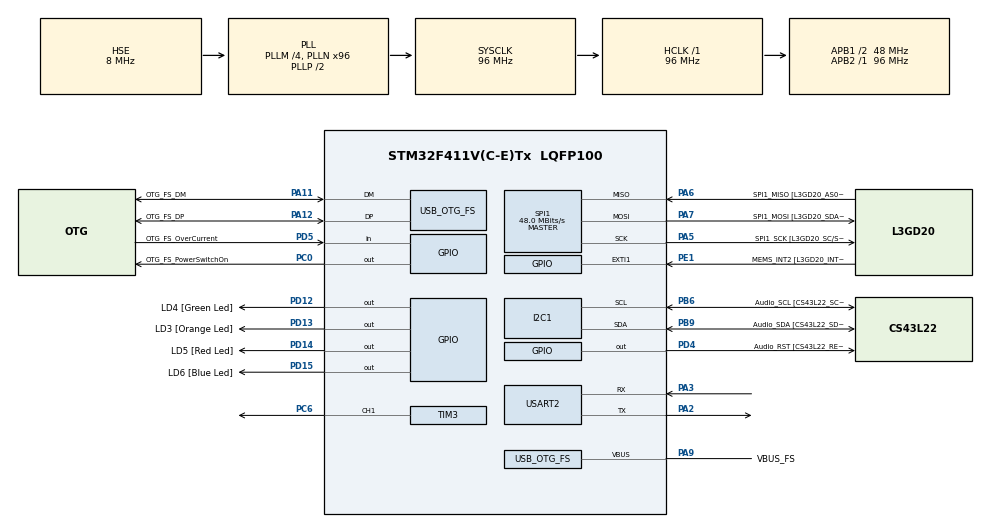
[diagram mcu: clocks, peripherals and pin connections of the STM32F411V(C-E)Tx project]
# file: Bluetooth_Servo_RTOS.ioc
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FREERTOS.CountingSemaphores01=Red_LED,15,Static,Red_LEDControl;Blue_LED,15,Dynamic,NULL;Orange_LED,15,Dynamic,NULL;Green_LED,15,Dynamic,NULL
FREERTOS.Queues01=Servo_Angle,50,uint8_t,0,Dynamic,NULL,NULL;From_COM_Port,100,uint8_t,0,Dynamic,NULL,NULL;To_COM_Port,100,uint8_t,0,Dynamic,NULL,NULL;From_Bluetooth,100,uint8_t,0,Dynamic,NULL,NULL;To_Bluetooth,100,uint8_t,0,Dynamic,NULL,NULL
FREERTOS.Tasks01=Move_Servo_Task,0,128,Move_Servo,Default,NULL,Dynamic,NULL,NULL;Bluetooth_Read,-2,128,Bluetooth_Read_Task,Default,NULL,Dynamic,NULL,NULL;USB_Read,-2,128,USB_Read_Task,Default,NULL,Dynamic,NULL,NULL;USB_Send,-2,128,USB_Send_Task,Default,NULL,Dynamic,NULL,NULL;Bluetooth_Send,-2,128,Bluetooth_Send_Task,Default,NULL,Dynamic,NULL,NULL;LED_Control,-2,128,LED_Control_Task,Default,NULL,Dynamic,NULL,NULL;Button_read,-2,128,Button_read_Task,Default,NULL,Dynamic,NULL,NULL
FREERTOS.configUSE_NEWLIB_REENTRANT=1
Mcu.Family=STM32F4
Mcu.Name=STM32F411V(C-E)Tx
Mcu.Package=LQFP100
NVIC.OTG_FS_IRQn=true\:5\:0\:false\:false\:true\:true\:true\:true\:true
NVIC.PriorityGroup=NVIC_PRIORITYGROUP_4
NVIC.TIM1_UP_TIM10_IRQn=true\:5\:0\:false\:false\:true\:false\:false\:true\:true
NVIC.TimeBase=TIM1_UP_TIM10_IRQn
NVIC.TimeBaseIP=TIM1
PA0-WKUP.Mode=SYS_WakeUp0
PA0-WKUP.Signal=SYS_WKUP
PA10.GPIO_Label=OTG_FS_ID
PA10.Signal=USB_OTG_FS_ID
PA11.GPIO_Label=OTG_FS_DM
PA11.Mode=Device_Only
PA11.Signal=USB_OTG_FS_DM
PA12.GPIO_Label=OTG_FS_DP
PA12.Mode=Device_Only
PA12.Signal=USB_OTG_FS_DP
PA13.GPIO_Label=SWDIO
PA13.Mode=Serial_Wire
PA13.Signal=SYS_JTMS-SWDIO
PA14.GPIO_Label=SWCLK
PA14.Mode=Serial_Wire
PA14.Signal=SYS_JTCK-SWCLK
PA2.Mode=Asynchronous
PA2.Signal=USART2_TX
PA3.Mode=Asynchronous
PA3.Signal=USART2_RX
PA4.GPIO_Label=I2S3_WS [CS43L22_LRCK]
PA4.GPIO_Mode=GPIO_MODE_AF_PP
PA4.GPIO_PuPd=GPIO_NOPULL
PA4.GPIO_Speed=GPIO_SPEED_FREQ_LOW
PA4.Signal=I2S3_WS
PA5.GPIO_Label=SPI1_SCK [L3GD20_SC/SPC]
PA5.Mode=Full_Duplex_Master
PA5.Signal=SPI1_SCK
PA6.GPIO_Label=SPI1_MISO [L3GD20_AS0/SDO]
PA6.Mode=Full_Duplex_Master
PA6.Signal=SPI1_MISO
PA7.GPIO_Label=SPI1_MOSI [L3GD20_SDA/SDI/SDO]
PA7.Mode=Full_Duplex_Master
PA7.Signal=SPI1_MOSI
PA9.GPIO_Label=VBUS_FS
PA9.Mode=Activate_VBUS
PA9.Signal=USB_OTG_FS_VBUS
PB10.GPIO_Label=CLK_IN [MP45DT02_CLK]
PB10.Signal=I2S2_CK
PB12.Signal=I2S2_WS
PB3.GPIO_Label=SWO
PB3.Signal=SYS_JTDO-SWO
PB6.GPIO_Label=Audio_SCL [CS43L22_SCL]
PB6.GPIO_Mode=GPIO_MODE_AF_OD
PB6.GPIO_Pu=GPIO_PULLUP
PB6.GPIO_PuPd=GPIO_NOPULL
PB6.GPIO_Speed=GPIO_SPEED_FREQ_LOW
PB6.Mode=I2C
PB6.Signal=I2C1_SCL
PB9.GPIO_Label=Audio_SDA [CS43L22_SDA]
PB9.GPIO_Mode=GPIO_MODE_AF_OD
PB9.GPIO_Pu=GPIO_PULLUP
PB9.GPIO_PuPd=GPIO_NOPULL
PB9.GPIO_Speed=GPIO_SPEED_FREQ_LOW
PB9.Mode=I2C
PB9.Signal=I2C1_SDA
PC0.GPIO_Label=OTG_FS_PowerSwitchOn
PC0.PinState=GPIO_PIN_SET
PC0.Signal=GPIO_Output
PC10.GPIO_Label=I2S3_SCK [CS43L22_SCLK]
PC10.GPIO_Mode=GPIO_MODE_AF_PP
PC10.GPIO_PuPd=GPIO_NOPULL
PC10.GPIO_Speed=GPIO_SPEED_FREQ_LOW
PC10.Signal=I2S3_CK
PC12.GPIO_Label=I2S3_SD [CS43L22_SDIN]
PC12.GPIO_Mode=GPIO_MODE_AF_PP
PC12.GPIO_PuPd=GPIO_NOPULL
PC12.GPIO_Speed=GPIO_SPEED_FREQ_LOW
PC12.Signal=I2S3_SD
PC14-OSC32_IN.GPIO_Label=PC14-OSC32_IN
PC14-OSC32_IN.Mode=LSE-External-Oscillator
PC14-OSC32_IN.Signal=RCC_OSC32_IN
PC15-OSC32_OUT.GPIO_Label=PC15-OSC32_OUT
PC15-OSC32_OUT.Mode=LSE-External-Oscillator
PC15-OSC32_OUT.Signal=RCC_OSC32_OUT
PC3.GPIO_Label=PDM_OUT [MP45DT02_DOUT]
PC3.Signal=I2S2_SD
PC6.Signal=S_TIM3_CH1
PC7.GPIO_Label=I2S3_MCK [CS43L22_MCLK]
PC7.GPIO_Mode=GPIO_MODE_AF_PP
PC7.GPIO_PuPd=GPIO_NOPULL
PC7.GPIO_Speed=GPIO_SPEED_FREQ_LOW
PC7.Signal=I2S3_MCK
PD12.GPIO_Label=LD4 [Green Led]
PD12.GPIO_PuPd=GPIO_NOPULL
PD12.GPIO_Speed=GPIO_SPEED_FREQ_LOW
PD12.Signal=GPIO_Output
PD13.GPIO_Label=LD3 [Orange Led]
PD13.GPIO_PuPd=GPIO_NOPULL
PD13.GPIO_Speed=GPIO_SPEED_FREQ_LOW
PD13.Signal=GPIO_Output
PD14.GPIO_Label=LD5 [Red Led]
PD14.GPIO_PuPd=GPIO_NOPULL
PD14.GPIO_Speed=GPIO_SPEED_FREQ_LOW
PD14.Signal=GPIO_Output
PD15.GPIO_Label=LD6 [Blue Led]
PD15.GPIO_PuPd=GPIO_NOPULL
PD15.GPIO_Speed=GPIO_SPEED_FREQ_LOW
PD15.Signal=GPIO_Output
PD4.GPIO_Label=Audio_RST [CS43L22_RESET]
PD4.Signal=GPIO_Output
PD5.GPIO_Label=OTG_FS_OverCurrent
PD5.Signal=GPIO_Input
PE1.GPIO_Label=MEMS_INT2 [L3GD20_INT2]
PE1.GPIO_ModeDefaultEXTI=GPIO_MODE_EVT_RISING
PE1.Signal=GPXTI1
PE2.Signal=SYS_TRACECLK
PE3.Signal=SYS_TRACED0
PE4.Signal=SYS_TRACED1
PE5.Signal=SYS_TRACED2
PH0\ -\ OSC_IN.GPIO_Label=PH0-OSC_IN
PH0\ -\ OSC_IN.Mode=HSE-External-Oscillator
PH0\ -\ OSC_IN.Signal=RCC_OSC_IN
PH1\ -\ OSC_OUT.GPIO_Label=PH1-OSC_OUT
PH1\ -\ OSC_OUT.Mode=HSE-External-Oscillator
PH1\ -\ OSC_OUT.Signal=RCC_OSC_OUT
ProjectManager.HeapSize=0x200
ProjectManager.StackSize=0x400
ProjectManager.TargetToolchain=STM32CubeIDE
RCC.48MHZClocksFreq_Value=48000000
RCC.AHBFreq_Value=96000000
RCC.APB1CLKDivider=RCC_HCLK_DIV2
RCC.APB1Freq_Value=48000000
RCC.APB1TimFreq_Value=96000000
RCC.APB2Freq_Value=96000000
RCC.APB2TimFreq_Value=96000000
RCC.CortexFreq_Value=96000000
RCC.HCLKFreq_Value=96000000
RCC.HSE_VALUE=8000000
RCC.HSI_VALUE=16000000
RCC.PLLI2SM=8
RCC.PLLI2SN=200
RCC.PLLI2SR=4
RCC.PLLM=4
RCC.PLLN=96
RCC.SYSCLKFreq_VALUE=96000000
RCC.SYSCLKSource=RCC_SYSCLKSOURCE_PLLCLK
RCC.VCOOutputFreq_Value=192000000
SH.S_TIM3_CH1.0=TIM3_CH1,PWM Generation1 CH1
SPI1.BaudRatePrescaler=SPI_BAUDRATEPRESCALER_2
SPI1.CalculateBaudRate=48.0 MBits/s
SPI1.Direction=SPI_DIRECTION_2LINES
SPI1.Mode=SPI_MODE_MASTER
SPI1.VirtualType=VM_MASTER
TIM3.Channel-PWM\ Generation1\ CH1=TIM_CHANNEL_1
TIM3.Period=20000
TIM3.Prescaler=95
USART2.VirtualMode=VM_ASYNC
USB_DEVICE.CLASS_NAME_FS=CDC
USB_DEVICE.VirtualMode=Cdc
USB_DEVICE.VirtualModeFS=Cdc_FS
USB_OTG_FS.VirtualMode=Device_Only
VP_FREERTOS_VS_CMSIS_V1.Mode=CMSIS_V1
VP_SYS_VS_tim1.Mode=TIM1
VP_USB_DEVICE_VS_USB_DEVICE_CDC_FS.Mode=CDC_FS
board=STM32F411E-DISCO

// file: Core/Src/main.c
/* USER CODE BEGIN Header */
/**
  ******************************************************************************
  * @file           : main.c
  * @brief          : Main program body
  ******************************************************************************
  * @attention
  *
  * Copyright (c) 2022 STMicroelectronics.
  * All rights reserved.
  *
  * This software is licensed under terms that can be found in the LICENSE file
  * in the root directory of this software component.
  * If no LICENSE file comes with this software, it is provided AS-IS.
  *
  ******************************************************************************
  */
/* USER CODE END Header */
#include "main.h"
#include "cmsis_os.h"
#include "usb_device.h"
#include "usbd_cdc_if.h"

 I2C_HandleTypeDef hi2c1;

SPI_HandleTypeDef hspi1;

TIM_HandleTypeDef htim3;

UART_HandleTypeDef huart2;

osThreadId Move_Servo_TaskHandle;
osThreadId Bluetooth_ReadHandle;
osThreadId USB_ReadHandle;
osThreadId USB_SendHandle;
osThreadId Bluetooth_SendHandle;
osThreadId LED_ControlHandle;
osThreadId Button_readHandle;
osMessageQId Servo_AngleHandle;
osMessageQId From_COM_PortHandle;
osMessageQId To_COM_PortHandle;
osMessageQId From_BluetoothHandle;
osMessageQId To_BluetoothHandle;
osSemaphoreId Red_LEDHandle;
osStaticSemaphoreDef_t Red_LEDControl;
osSemaphoreId Blue_LEDHandle;
osSemaphoreId Orange_LEDHandle;
osSemaphoreId Green_LEDHandle;
/* USER CODE BEGIN PV */
char str_rx[21];
char str_tx[21];

/* USER CODE END PV */

void SystemClock_Config(void);
static void MX_GPIO_Init(void);
static void MX_I2C1_Init(void);
static void MX_SPI1_Init(void);
static void MX_TIM3_Init(void);
static void MX_USART2_UART_Init(void);
void Move_Servo(void const * argument);
void Bluetooth_Read_Task(void const * argument);
void USB_Read_Task(void const * argument);
void USB_Send_Task(void const * argument);
void Bluetooth_Send_Task(void const * argument);
void LED_Control_Task(void const * argument);
void Button_read_Task(void const * argument);

/* USER CODE BEGIN 0 */
int Set_Servo_Angle(uint8_t Angle) // from 0 to 180 degrees
{
    uint16_t Pulse_length = 500;

    if (Angle > 0  &&  Angle <= 180) {
        Pulse_length += (2700-500)/180 * Angle;
    }

    TIM3->CCR1=Pulse_length;
    return 0;
}

/* USER CODE END 0 */

int main(void)
{
  /* USER CODE BEGIN 1 */
    //str_rx[0] = '0';

  /* USER CODE END 1 */

  /* MCU Configuration--------------------------------------------------------*/

  /* Reset of all peripherals, Initializes the Flash interface and the Systick. */
  HAL_Init();

  /* Configure the system clock */
  SystemClock_Config();

  /* Initialize all configured peripherals */
  MX_GPIO_Init();
  MX_I2C1_Init();
  MX_SPI1_Init();
  MX_TIM3_Init();
  MX_USART2_UART_Init();

  /* Create the semaphores(s) */
  /* definition and creation of Red_LED */
  osSemaphoreStaticDef(Red_LED, &Red_LEDControl);
  Red_LEDHandle = osSemaphoreCreate(osSemaphore(Red_LED), 15);

  /* definition and creation of Blue_LED */
  osSemaphoreDef(Blue_LED);
  Blue_LEDHandle = osSemaphoreCreate(osSemaphore(Blue_LED), 15);

  /* definition and creation of Orange_LED */
  osSemaphoreDef(Orange_LED);
  Orange_LEDHandle = osSemaphoreCreate(osSemaphore(Orange_LED), 15);

  /* definition and creation of Green_LED */
  osSemaphoreDef(Green_LED);
  Green_LEDHandle = osSemaphoreCreate(osSemaphore(Green_LED), 15);

  /* Create the queue(s) */
  /* definition and creation of Servo_Angle */
  osMessageQDef(Servo_Angle, 50, uint8_t);
  Servo_AngleHandle = osMessageCreate(osMessageQ(Servo_Angle), NULL);

  /* definition and creation of From_COM_Port */
  osMessageQDef(From_COM_Port, 100, uint8_t);
  From_COM_PortHandle = osMessageCreate(osMessageQ(From_COM_Port), NULL);

  /* definition and creation of To_COM_Port */
  osMessageQDef(To_COM_Port, 100, uint8_t);
  To_COM_PortHandle = osMessageCreate(osMessageQ(To_COM_Port), NULL);

  /* definition and creation of From_Bluetooth */
  osMessageQDef(From_Bluetooth, 100, uint8_t);
  From_BluetoothHandle = osMessageCreate(osMessageQ(From_Bluetooth), NULL);

  /* definition and creation of To_Bluetooth */
  osMessageQDef(To_Bluetooth, 100, uint8_t);
  To_BluetoothHandle = osMessageCreate(osMessageQ(To_Bluetooth), NULL);

  /* Create the thread(s) */
  /* definition and creation of Move_Servo_Task */
  osThreadDef(Move_Servo_Task, Move_Servo, osPriorityLow, 0, 128);
  Move_Servo_TaskHandle = osThreadCreate(osThread(Move_Servo_Task), NULL);

  /* definition and creation of Bluetooth_Read */
  osThreadDef(Bluetooth_Read, Bluetooth_Read_Task, osPriorityLow, 0, 128);
  Bluetooth_ReadHandle = osThreadCreate(osThread(Bluetooth_Read), NULL);

  /* definition and creation of USB_Read */
  osThreadDef(USB_Read, USB_Read_Task, osPriorityNormal, 0, 128);
  USB_ReadHandle = osThreadCreate(osThread(USB_Read), NULL);

  /* definition and creation of USB_Send */
  osThreadDef(USB_Send, USB_Send_Task, osPriorityLow, 0, 128);
  USB_SendHandle = osThreadCreate(osThread(USB_Send), NULL);

  /* definition and creation of Bluetooth_Send */
  osThreadDef(Bluetooth_Send, Bluetooth_Send_Task, osPriorityLow, 0, 128);
  Bluetooth_SendHandle = osThreadCreate(osThread(Bluetooth_Send), NULL);

  /* definition and creation of LED_Control */
  osThreadDef(LED_Control, LED_Control_Task, osPriorityLow, 0, 128);
  LED_ControlHandle = osThreadCreate(osThread(LED_Control), NULL);

  /* definition and creation of Button_read */
  osThreadDef(Button_read, Button_read_Task, osPriorityLow, 0, 128);
  Button_readHandle = osThreadCreate(osThread(Button_read), NULL);

  /* Start scheduler */
  osKernelStart();

  /* We should never get here as control is now taken by the scheduler */
  /* Infinite loop */
  while (1)
  {

  }
}

void SystemClock_Config(void)
{
  RCC_OscInitTypeDef RCC_OscInitStruct = {0};
  RCC_ClkInitTypeDef RCC_ClkInitStruct = {0};

  /** Configure the main internal regulator output voltage
  */
  __HAL_RCC_PWR_CLK_ENABLE();
  __HAL_PWR_VOLTAGESCALING_CONFIG(PWR_REGULATOR_VOLTAGE_SCALE1);

  /** Initializes the RCC Oscillators according to the specified parameters
  * in the RCC_OscInitTypeDef structure.
  */
  RCC_OscInitStruct.OscillatorType = RCC_OSCILLATORTYPE_HSE;
  RCC_OscInitStruct.HSEState = RCC_HSE_ON;
  RCC_OscInitStruct.PLL.PLLState = RCC_PLL_ON;
  RCC_OscInitStruct.PLL.PLLSource = RCC_PLLSOURCE_HSE;
  RCC_OscInitStruct.PLL.PLLM = 4;
  RCC_OscInitStruct.PLL.PLLN = 96;
  RCC_OscInitStruct.PLL.PLLP = RCC_PLLP_DIV2;
  RCC_OscInitStruct.PLL.PLLQ = 4;
  if (HAL_RCC_OscConfig(&RCC_OscInitStruct) != HAL_OK)
  {
    Error_Handler();
  }

  /** Initializes the CPU, AHB and APB buses clocks
  */
  RCC_ClkInitStruct.ClockType = RCC_CLOCKTYPE_HCLK|RCC_CLOCKTYPE_SYSCLK
                              |RCC_CLOCKTYPE_PCLK1|RCC_CLOCKTYPE_PCLK2;
  RCC_ClkInitStruct.SYSCLKSource = RCC_SYSCLKSOURCE_PLLCLK;
  RCC_ClkInitStruct.AHBCLKDivider = RCC_SYSCLK_DIV1;
  RCC_ClkInitStruct.APB1CLKDivider = RCC_HCLK_DIV2;
  RCC_ClkInitStruct.APB2CLKDivider = RCC_HCLK_DIV1;

  if (HAL_RCC_ClockConfig(&RCC_ClkInitStruct, FLASH_LATENCY_3) != HAL_OK)
  {
    Error_Handler();
  }
}

static void MX_I2C1_Init(void)
{

  hi2c1.Instance = I2C1;
  hi2c1.Init.ClockSpeed = 100000;
  hi2c1.Init.DutyCycle = I2C_DUTYCYCLE_2;
  hi2c1.Init.OwnAddress1 = 0;
  hi2c1.Init.AddressingMode = I2C_ADDRESSINGMODE_7BIT;
  hi2c1.Init.DualAddressMode = I2C_DUALADDRESS_DISABLE;
  hi2c1.Init.OwnAddress2 = 0;
  hi2c1.Init.GeneralCallMode = I2C_GENERALCALL_DISABLE;
  hi2c1.Init.NoStretchMode = I2C_NOSTRETCH_DISABLE;
  if (HAL_I2C_Init(&hi2c1) != HAL_OK)
  {
    Error_Handler();
  }

}

static void MX_SPI1_Init(void)
{

  /* SPI1 parameter configuration*/
  hspi1.Instance = SPI1;
  hspi1.Init.Mode = SPI_MODE_MASTER;
  hspi1.Init.Direction = SPI_DIRECTION_2LINES;
  hspi1.Init.DataSize = SPI_DATASIZE_8BIT;
  hspi1.Init.CLKPolarity = SPI_POLARITY_LOW;
  hspi1.Init.CLKPhase = SPI_PHASE_1EDGE;
  hspi1.Init.NSS = SPI_NSS_SOFT;
  hspi1.Init.BaudRatePrescaler = SPI_BAUDRATEPRESCALER_2;
  hspi1.Init.FirstBit = SPI_FIRSTBIT_MSB;
  hspi1.Init.TIMode = SPI_TIMODE_DISABLE;
  hspi1.Init.CRCCalculation = SPI_CRCCALCULATION_DISABLE;
  hspi1.Init.CRCPolynomial = 10;
  if (HAL_SPI_Init(&hspi1) != HAL_OK)
  {
    Error_Handler();
  }

}

static void MX_TIM3_Init(void)
{

  TIM_MasterConfigTypeDef sMasterConfig = {0};
  TIM_OC_InitTypeDef sConfigOC = {0};

  htim3.Instance = TIM3;
  htim3.Init.Prescaler = 95;
  htim3.Init.CounterMode = TIM_COUNTERMODE_UP;
  htim3.Init.Period = 20000;
  htim3.Init.ClockDivision = TIM_CLOCKDIVISION_DIV1;
  htim3.Init.AutoReloadPreload = TIM_AUTORELOAD_PRELOAD_DISABLE;
  if (HAL_TIM_PWM_Init(&htim3) != HAL_OK)
  {
    Error_Handler();
  }
  sMasterConfig.MasterOutputTrigger = TIM_TRGO_RESET;
  sMasterConfig.MasterSlaveMode = TIM_MASTERSLAVEMODE_DISABLE;
  if (HAL_TIMEx_MasterConfigSynchronization(&htim3, &sMasterConfig) != HAL_OK)
  {
    Error_Handler();
  }
  sConfigOC.OCMode = TIM_OCMODE_PWM1;
  sConfigOC.Pulse = 0;
  sConfigOC.OCPolarity = TIM_OCPOLARITY_HIGH;
  sConfigOC.OCFastMode = TIM_OCFAST_DISABLE;
  if (HAL_TIM_PWM_ConfigChannel(&htim3, &sConfigOC, TIM_CHANNEL_1) != HAL_OK)
  {
    Error_Handler();
  }
  HAL_TIM_MspPostInit(&htim3);

}

static void MX_USART2_UART_Init(void)
{

  huart2.Instance = USART2;
  huart2.Init.BaudRate = 115200;
  huart2.Init.WordLength = UART_WORDLENGTH_8B;
  huart2.Init.StopBits = UART_STOPBITS_1;
  huart2.Init.Parity = UART_PARITY_NONE;
  huart2.Init.Mode = UART_MODE_TX_RX;
  huart2.Init.HwFlowCtl = UART_HWCONTROL_NONE;
  huart2.Init.OverSampling = UART_OVERSAMPLING_16;
  if (HAL_UART_Init(&huart2) != HAL_OK)
  {
    Error_Handler();
  }

}

static void MX_GPIO_Init(void)
{
  GPIO_InitTypeDef GPIO_InitStruct = {0};

  /* GPIO Ports Clock Enable */
  __HAL_RCC_GPIOE_CLK_ENABLE();
  __HAL_RCC_GPIOC_CLK_ENABLE();
  __HAL_RCC_GPIOH_CLK_ENABLE();
  __HAL_RCC_GPIOA_CLK_ENABLE();
  __HAL_RCC_GPIOB_CLK_ENABLE();
  __HAL_RCC_GPIOD_CLK_ENABLE();

  /*Configure GPIO pin Output Level */
  HAL_GPIO_WritePin(OTG_FS_PowerSwitchOn_GPIO_Port, OTG_FS_PowerSwitchOn_Pin, GPIO_PIN_SET);

  /*Configure GPIO pin Output Level */
  HAL_GPIO_WritePin(GPIOD, LD4_Pin|LD3_Pin|LD5_Pin|LD6_Pin
                          |Audio_RST_Pin, GPIO_PIN_RESET);

  /*Configure GPIO pin : OTG_FS_PowerSwitchOn_Pin */
  GPIO_InitStruct.Pin = OTG_FS_PowerSwitchOn_Pin;
  GPIO_InitStruct.Mode = GPIO_MODE_OUTPUT_PP;
  GPIO_InitStruct.Pull = GPIO_NOPULL;
  GPIO_InitStruct.Speed = GPIO_SPEED_FREQ_LOW;
  HAL_GPIO_Init(OTG_FS_PowerSwitchOn_GPIO_Port, &GPIO_InitStruct);

  /*Configure GPIO pin : PDM_OUT_Pin */
  GPIO_InitStruct.Pin = PDM_OUT_Pin;
  GPIO_InitStruct.Mode = GPIO_MODE_AF_PP;
  GPIO_InitStruct.Pull = GPIO_NOPULL;
  GPIO_InitStruct.Speed = GPIO_SPEED_FREQ_LOW;
  GPIO_InitStruct.Alternate = GPIO_AF5_SPI2;
  HAL_GPIO_Init(PDM_OUT_GPIO_Port, &GPIO_InitStruct);

  /*Configure GPIO pin : I2S3_WS_Pin */
  GPIO_InitStruct.Pin = I2S3_WS_Pin;
  GPIO_InitStruct.Mode = GPIO_MODE_AF_PP;
  GPIO_InitStruct.Pull = GPIO_NOPULL;
  GPIO_InitStruct.Speed = GPIO_SPEED_FREQ_LOW;
  GPIO_InitStruct.Alternate = GPIO_AF6_SPI3;
  HAL_GPIO_Init(I2S3_WS_GPIO_Port, &GPIO_InitStruct);

  /*Configure GPIO pins : CLK_IN_Pin PB12 */
  GPIO_InitStruct.Pin = CLK_IN_Pin|GPIO_PIN_12;
  GPIO_InitStruct.Mode = GPIO_MODE_AF_PP;
  GPIO_InitStruct.Pull = GPIO_NOPULL;
  GPIO_InitStruct.Speed = GPIO_SPEED_FREQ_LOW;
  GPIO_InitStruct.Alternate = GPIO_AF5_SPI2;
  HAL_GPIO_Init(GPIOB, &GPIO_InitStruct);

  /*Configure GPIO pins : LD4_Pin LD3_Pin LD5_Pin LD6_Pin
                           Audio_RST_Pin */
  GPIO_InitStruct.Pin = LD4_Pin|LD3_Pin|LD5_Pin|LD6_Pin
                          |Audio_RST_Pin;
  GPIO_InitStruct.Mode = GPIO_MODE_OUTPUT_PP;
  GPIO_InitStruct.Pull = GPIO_NOPULL;
  GPIO_InitStruct.Speed = GPIO_SPEED_FREQ_LOW;
  HAL_GPIO_Init(GPIOD, &GPIO_InitStruct);

  /*Configure GPIO pins : I2S3_MCK_Pin I2S3_SCK_Pin I2S3_SD_Pin */
  GPIO_InitStruct.Pin = I2S3_MCK_Pin|I2S3_SCK_Pin|I2S3_SD_Pin;
  GPIO_InitStruct.Mode = GPIO_MODE_AF_PP;
  GPIO_InitStruct.Pull = GPIO_NOPULL;
  GPIO_InitStruct.Speed = GPIO_SPEED_FREQ_LOW;
  GPIO_InitStruct.Alternate = GPIO_AF6_SPI3;
  HAL_GPIO_Init(GPIOC, &GPIO_InitStruct);

  /*Configure GPIO pin : OTG_FS_OverCurrent_Pin */
  GPIO_InitStruct.Pin = OTG_FS_OverCurrent_Pin;
  GPIO_InitStruct.Mode = GPIO_MODE_INPUT;
  GPIO_InitStruct.Pull = GPIO_NOPULL;
  HAL_GPIO_Init(OTG_FS_OverCurrent_GPIO_Port, &GPIO_InitStruct);

  /*Configure GPIO pin : MEMS_INT2_Pin */
  GPIO_InitStruct.Pin = MEMS_INT2_Pin;
  GPIO_InitStruct.Mode = GPIO_MODE_EVT_RISING;
  GPIO_InitStruct.Pull = GPIO_NOPULL;
  HAL_GPIO_Init(MEMS_INT2_GPIO_Port, &GPIO_InitStruct);

}

void Move_Servo(void const * argument)
{
  /* init code for USB_DEVICE */

  /* USER CODE BEGIN 5 */

  HAL_TIM_PWM_Start(&htim3, TIM_CHANNEL_1);
  /* Infinite loop */
  for(;;)
  {
      Set_Servo_Angle(90);
      osDelay(10);
  }
  /* USER CODE END 5 */
}

void Bluetooth_Read_Task(void const * argument)
{
  for(;;)
  {
    osDelay(1);
  }
}

void USB_Read_Task(void const * argument)
{
  /* USER CODE BEGIN USB_Read_Task */
  MX_USB_DEVICE_Init();
  /* Infinite loop */
  for(;;)
  {

          for (int j = 0; j < 21; j++) {
              str_tx[j] = str_rx[j];
          }
          osDelay(1);

  }
  /* USER CODE END USB_Read_Task */
}

void USB_Send_Task(void const * argument)
{
  /* USER CODE BEGIN USB_Send_Task */
  sprintf(str_tx,"USB tttttttttttttt\r\n");
  /* Infinite loop */
  for(;;)
  {
      CDC_Transmit_FS((unsigned char*)str_tx, strlen(str_tx));
      osDelay(500);
  }
  /* USER CODE END USB_Send_Task */
}

void Bluetooth_Send_Task(void const * argument)
{
  /* USER CODE BEGIN Bluetooth_Send_Task */
  /* Infinite loop */
  for(;;)
  {

    osDelay(10);
  }
  /* USER CODE END Bluetooth_Send_Task */
}

void LED_Control_Task(void const * argument)
{
  /* USER CODE BEGIN LED_Control_Task */
  /* Infinite loop */
  for(;;)
  {
        /*
      if (xSemaphoreTake(Red_LEDHandle, portTICK_PERIOD_MS*5)) {
          HAL_GPIO_TogglePin(GPIOD, LD5_Pin); //Red LED
          osDelay(200);
      }
         */

      HAL_GPIO_WritePin(GPIOD, LD3_Pin, SET); //Orange LED
      HAL_GPIO_WritePin(GPIOD, LD4_Pin, SET); //Green LED
      //HAL_GPIO_WritePin(GPIOD, LD5_Pin, SET); //Red LED
      HAL_GPIO_WritePin(GPIOD, LD6_Pin, SET); //Blue LED
      osDelay(100);
  }
  /* USER CODE END LED_Control_Task */
}

void Button_read_Task(void const * argument)
{
  for(;;)
  {
    osDelay(1);
  }
}

void HAL_TIM_PeriodElapsedCallback(TIM_HandleTypeDef *htim)
{
  if (htim->Instance == TIM1) {
    HAL_IncTick();
  }
}

void Error_Handler(void)
{
  __disable_irq();
  while (1)
  {
  }
}
